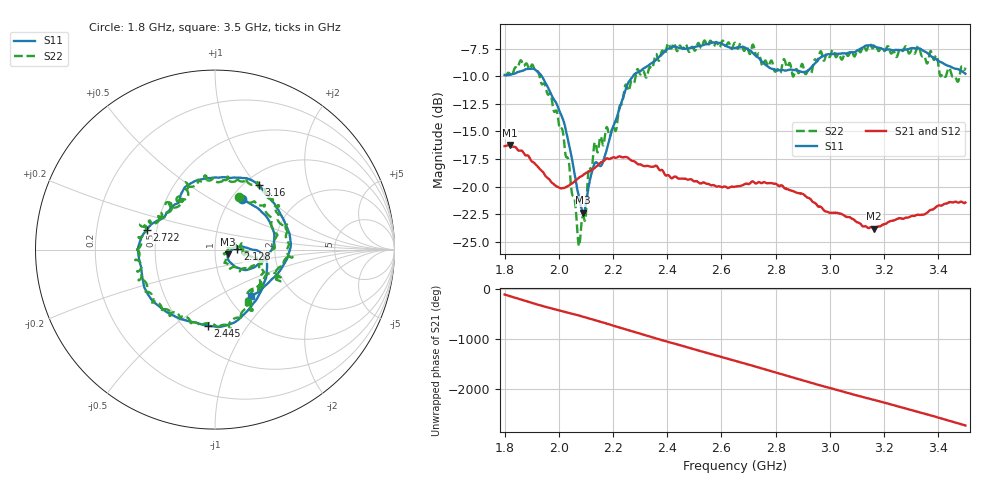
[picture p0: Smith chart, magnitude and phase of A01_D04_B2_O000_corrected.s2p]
! Created with skrf 1.9.0 (http://scikit-rf.org).
# Hz S RI R 50.0
!freq ReS11 ImS11 ReS21 ImS21 ReS12 ImS12 ReS22 ImS22
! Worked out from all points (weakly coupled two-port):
!   1601 points, 1.8 GHz to 3.5 GHz, reference 50 ohm
!   highest |S21| = -16.23 dB at 1.819 GHz (marker M1); lowest = -23.8 dB at 3.163 GHz (marker M2)
!   lowest |S11| = -22.4 dB at 2.09 GHz (marker M3), VSWR 1.16, Z = 57.6 - j3.04 ohm
!   |S11| at or under -10 dB: 1.938 GHz to 2.273 GHz (335.7 MHz wide, 15.9 % of centre)
!   |S22| runs from -25.4 to -6.8 dB; largest |S21 - S12| = 0.0025
!   S11 on the Smith chart (normalised r, x): 1.8 GHz: 1.12, +0.71; 2.128 GHz: 1.28, +0.01; 2.445 GHz: 0.65, -0.67; 2.722 GHz: 0.44, +0.11; 3.16 GHz: 1.15, +1.03; 3.5 GHz: 1.27, -0.72
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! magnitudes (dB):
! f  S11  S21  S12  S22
! 1.8 GHz  -9.9  -16.3  -16.3  -9.9
! 1.819 GHz  -9.9  -16.2  -16.2  -9.8
! 1.903 GHz  -9.3  -17.8  -17.7  -9.0
! 1.968 GHz  -11.4  -19.4  -19.5  -11.5
! 2.015 GHz  -13.9  -20.1  -20.2  -15.0
! 2.072 GHz  -20.6  -19.2  -19.3  -25.1
! 2.084 GHz  -22.0  -19.1  -19.0  -23.3
! 2.09 GHz  -22.4  -18.9  -19.0  -22.7
! 2.128 GHz  -18.1  -18.4  -18.4  -16.7
! 2.162 GHz  -17.8  -17.7  -17.7  -16.2
! 2.259 GHz  -10.5  -17.5  -17.5  -11.3
! 2.367 GHz  -8.3  -18.4  -18.3  -8.6
! 2.445 GHz  -7.4  -19.3  -19.3  -7.2
! 2.65 GHz  -7.4  -20.0  -20.0  -7.0
! 2.722 GHz  -8.1  -19.6  -19.6  -7.6
! 2.934 GHz  -9.1  -21.3  -21.3  -9.6
! 3.16 GHz  -7.2  -23.8  -23.7  -7.4
! 3.163 GHz  -7.2  -23.8  -23.7  -7.3
! 3.217 GHz  -7.6  -23.2  -23.1  -7.4
! 3.327 GHz  -7.5  -22.6  -22.5  -7.3
! 3.468 GHz  -9.3  -21.4  -21.4  -10.4
! 3.5 GHz  -9.8  -21.4  -21.4  -9.2
